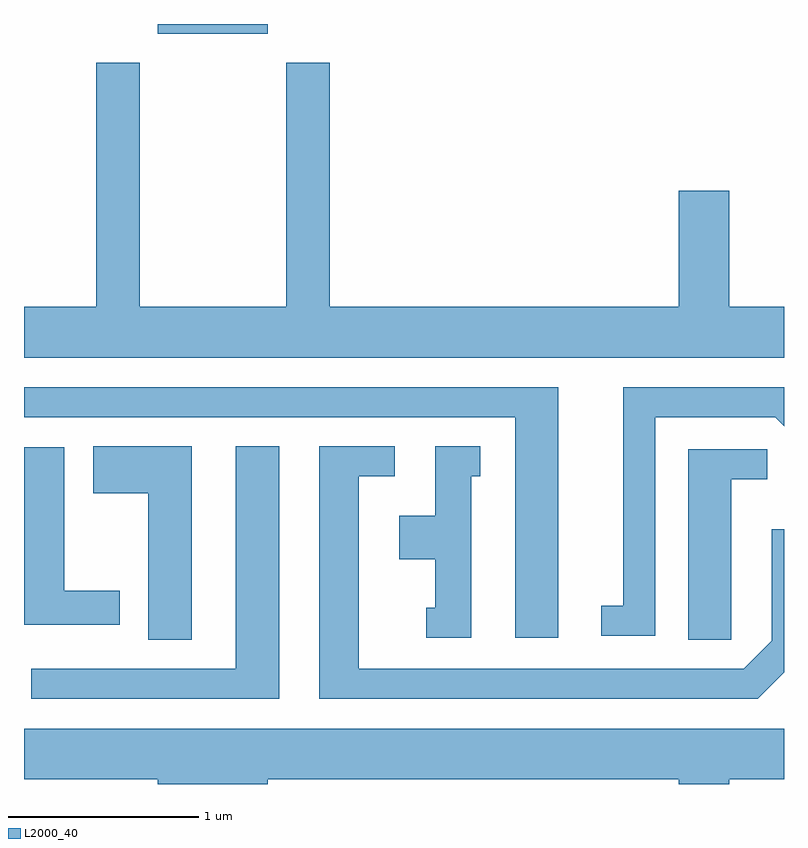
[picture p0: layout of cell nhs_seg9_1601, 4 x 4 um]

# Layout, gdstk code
import gdstk
lib = gdstk.Library(unit=1e-6, precision=1e-09)
def R(c, l, rs):  # rectangles x0, y0, x1, y1
    for r in rs: c.add(gdstk.rectangle(r[:2], r[2:], *l))
def P(c, l, *ps):  # polygons
    for p in ps: c.add(gdstk.Polygon(p, *l))
L2000_40 = (2000, 40)

nhs_seg9_1601 = lib.new_cell('nhs_seg9_1601')
R(nhs_seg9_1601, L2000_40, [(232.316,2022.381,232.894,2022.432)])
P(nhs_seg9_1601, L2000_40, [(235.611,2020.944),(235.324,2020.944),(235.324,2021.554),(235.056,2021.554),(235.056,2020.944),(233.219,2020.944),(233.219,2022.229),(232.991,2022.229),(232.991,2020.944),(232.219,2020.944),(232.219,2022.229),(231.991,2022.229),(231.991,2020.944),(231.611,2020.944),(231.611,2020.676),(235.611,2020.676)],
  [(234.934,2020.361),(235.564,2020.361),(235.611,2020.314),(235.611,2020.519),(234.766,2020.519),(234.766,2019.369),(234.648,2019.369),(234.648,2019.211),(234.934,2019.211)],
  [(234.424,2020.519),(231.611,2020.519),(231.611,2020.361),(234.196,2020.361),(234.196,2019.201),(234.424,2019.201)],
  [(232.494,2020.209),(231.976,2020.209),(231.976,2019.961),(232.266,2019.961),(232.266,2019.191),(232.494,2019.191)],
  [(232.954,2020.209),(232.726,2020.209),(232.726,2019.039),(231.648,2019.039),(231.648,2018.881),(232.954,2018.881)],
  [(233.964,2020.051),(234.013,2020.051),(234.013,2020.209),(233.776,2020.209),(233.776,2019.844),(233.586,2019.844),(233.586,2019.616),(233.776,2019.616),(233.776,2019.359),(233.728,2019.359),(233.728,2019.201),(233.964,2019.201)],
  [(235.611,2019.02),(235.611,2019.773),(235.546,2019.773),(235.546,2019.187),(235.399,2019.039),(233.374,2019.039),(233.374,2020.051),(233.563,2020.051),(233.563,2020.209),(233.166,2020.209),(233.166,2018.881),(235.472,2018.881)],
  [(232.114,2019.449),(231.824,2019.449),(231.824,2020.204),(231.611,2020.204),(231.611,2019.271),(232.114,2019.271)],
  [(235.334,2020.036),(235.523,2020.036),(235.523,2020.194),(235.106,2020.194),(235.106,2019.191),(235.334,2019.191)],
  [(232.894,2018.456),(235.056,2018.456),(235.056,2018.432),(235.324,2018.432),(235.324,2018.456),(235.611,2018.456),(235.611,2018.724),(231.611,2018.724),(231.611,2018.456),(232.316,2018.456),(232.316,2018.432),(232.894,2018.432)])

lib.write_gds('nhs_seg9_1601.gds')
